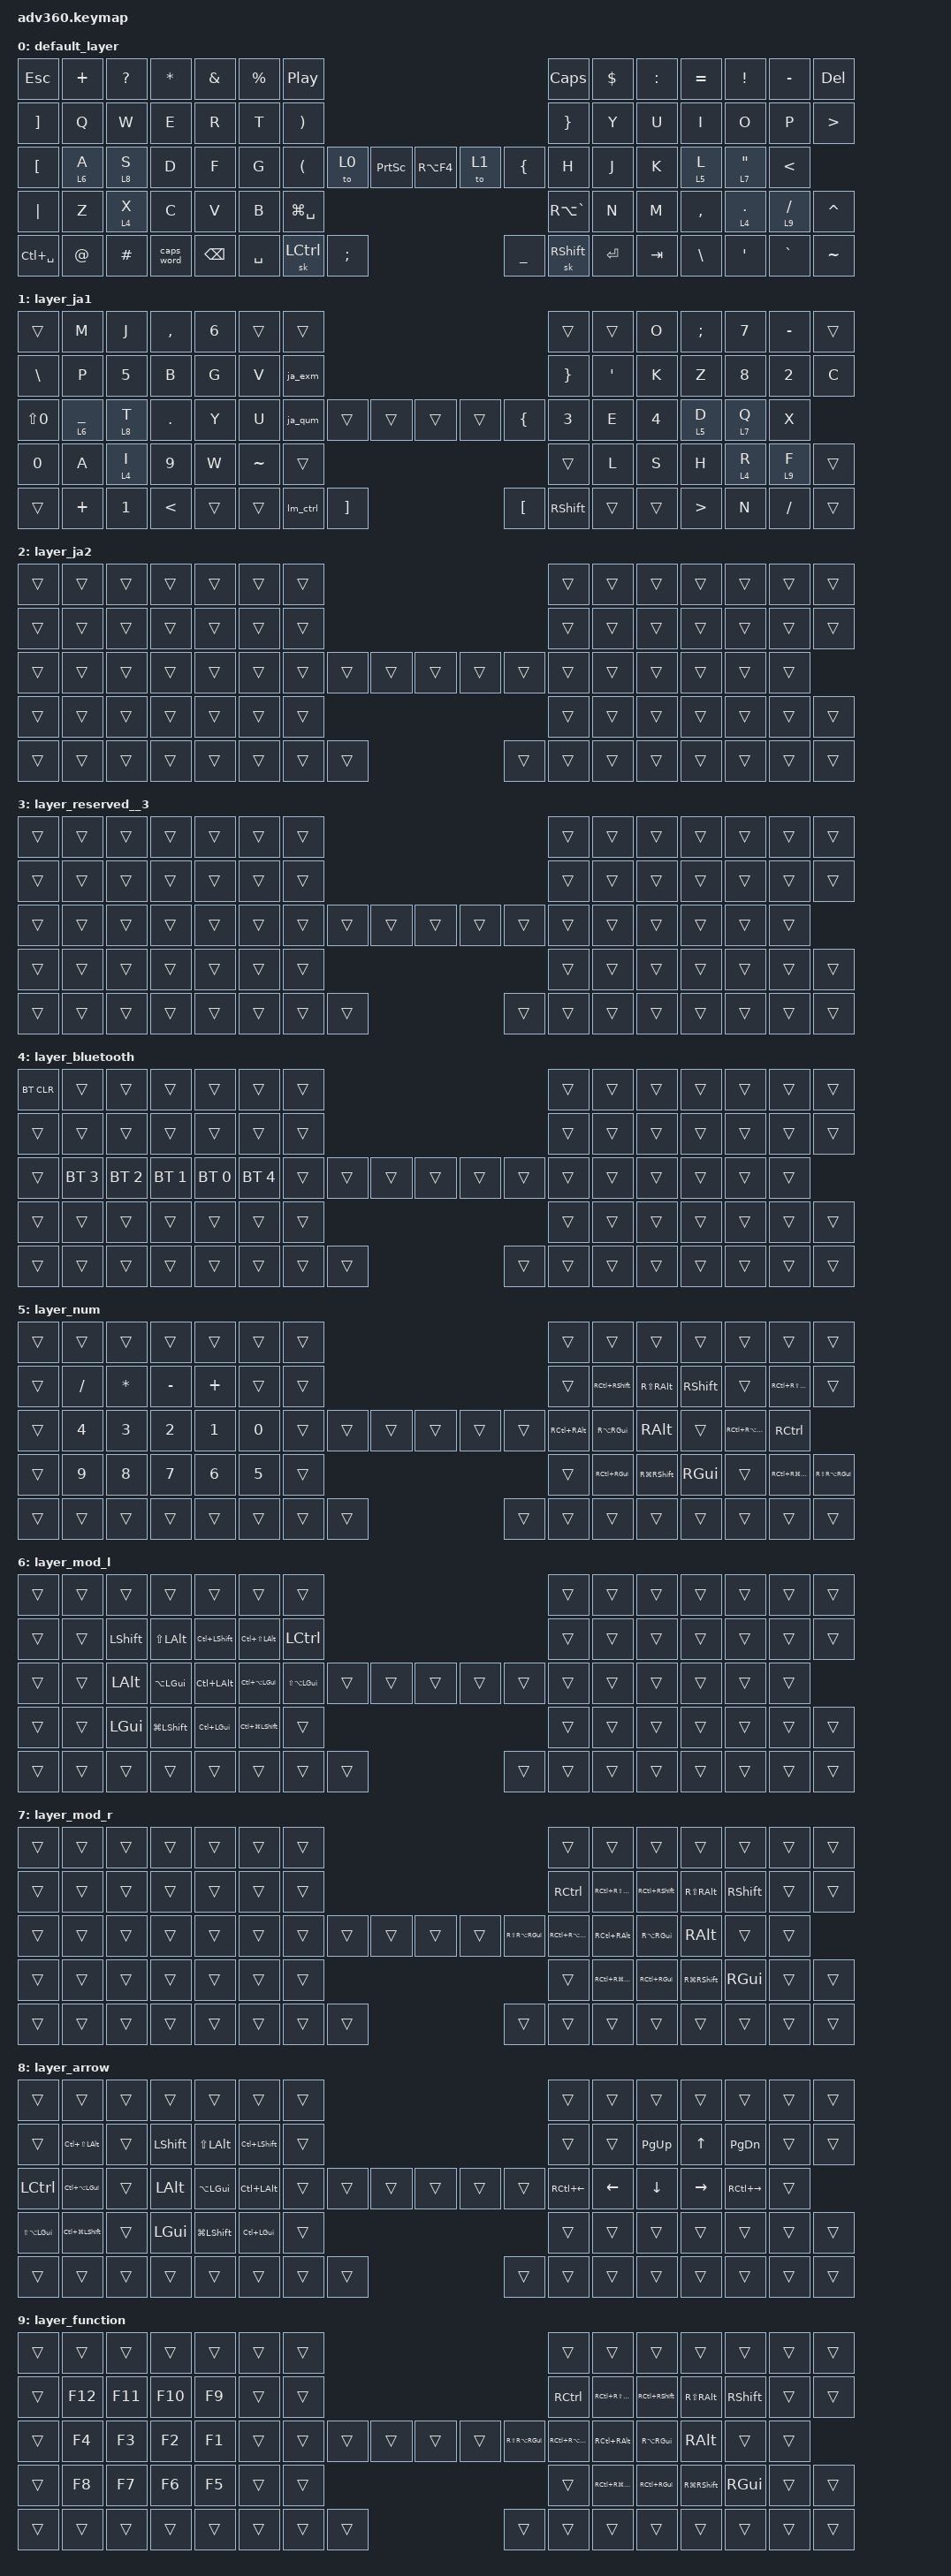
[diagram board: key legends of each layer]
/*
 * Copyright (c) 2020 The ZMK Contributors
 *
 * SPDX-License-Identifier: MIT
 */


/* THIS FILE WAS GENERATED!
 *
 * This file was generated automatically. You may or may not want to
 * edit it directly.
 */

#include <behaviors.dtsi>
#include <dt-bindings/zmk/keys.h>
#include <dt-bindings/zmk/bt.h>

/ {
  behaviors {
    #include "macros.dtsi"
  };

    keymap {
        compatible = "zmk,keymap";


        default_layer {
            bindings = <
            &kp ESC             &kp PLUS    &kp QUESTION    &kp ASTERISK    &kp AMPERSAND   &kp PERCENT &kp C_PP                                                                                                                &kp CAPS        &kp DOLLAR  &kp COLON   &kp EQUAL       &kp EXCLAMATION &kp MINUS           &kp DEL
            &kp RIGHT_BRACKET   &kp Q       &kp W           &kp E           &kp R           &kp T       &kp RIGHT_PARENTHESIS                                                                                                   &kp RIGHT_BRACE &kp Y       &kp U       &kp I           &kp O           &kp P               &kp GREATER_THAN
            &kp LEFT_BRACKET    &lt 6 A     &lt 8 S         &kp D           &kp F           &kp G       &kp LEFT_PARENTHESIS                &to 0               &kp PRINTSCREEN     &kp RA(F4)      &to 1           &kp LEFT_BRACE  &kp H       &kp J       &kp K           &lt 5 L         &lt 7 DOUBLE_QUOTES &kp LESS_THAN
            &kp PIPE            &kp Z       &lt 4 X         &kp C           &kp V           &kp B                                                               &kp LG(SPACE)       &kp RA(GRAVE)                                               &kp N       &kp M       &kp COMMA       &lt 4 DOT       &lt 9 SLASH         &kp CARET
            &kp LC(SPACE)       &kp AT_SIGN &kp HASH        &caps_word      &kp BSPC                                            &kp SPACE   &sk LEFT_CONTROL    &kp SEMI            &kp UNDERSCORE  &sk RIGHT_SHIFT &kp ENTER                               &kp TAB     &kp BACKSLASH   &kp APOSTROPHE  &kp GRAVE           &kp TILDE
            >;
        };

        layer_ja1 {
            bindings = <
            &trans           &kp M              &kp J     &kp COMMA      &kp N6     &trans      &trans                                                                                                                &trans             &trans              &kp O      &kp SEMICOLON    &kp N7     &kp MINUS    &trans
            &kp BACKSLASH    &kp P              &kp N5    &kp B          &kp G      &kp V       &ja_exm                                                                                                               &kp RIGHT_BRACE    &kp SINGLE_QUOTE    &kp K      &kp Z            &kp N8     &kp N2       &kp C
            &kp LS(N0)       &lt 6 UNDERSCORE   &lt 8 T   &kp DOT        &kp Y      &kp U       &ja_qum                    &trans               &trans               &trans               &trans                      &kp LEFT_BRACE     &kp N3              &kp E      &kp N4           &lt 5 D    &lt 7 Q      &kp X
            &kp N0           &kp A              &lt 4 I   &kp N9         &kp W      &kp TILDE                                                   &trans               &trans                                                              &kp L               &kp S      &kp H            &lt 4 R    &lt 9  F     &trans
            &trans           &kp PLUS           &kp N1    &kp LESS_THAN  &trans                                  &trans    &lm_ctrl             &kp RIGHT_BRACKET    &kp LEFT_BRACKET    &kp RIGHT_SHIFT    &trans                                           &trans     &kp GREATER_THAN &kp N      &kp SLASH    &trans
            >;
        };

        layer_ja2 {
            bindings = <
 &trans  &trans  &trans  &trans  &trans  &trans            &trans                                                  &trans  &trans  &trans  &trans  &trans  &trans  &trans
 &trans  &trans  &trans  &trans  &trans  &trans            &trans                                                  &trans  &trans  &trans  &trans  &trans  &trans  &trans
 &trans  &trans  &trans  &trans  &trans  &trans            &trans  &trans  &trans                  &trans  &trans  &trans  &trans  &trans  &trans  &trans  &trans  &trans
 &trans  &trans  &trans  &trans  &trans  &trans                            &trans                  &trans                  &trans  &trans  &trans  &trans  &trans  &trans
 &trans  &trans  &trans  &trans  &trans                    &trans  &trans  &trans                  &trans  &trans  &trans          &trans  &trans  &trans  &trans  &trans
            >;
        };

        layer_reserved__3 {
            bindings = <
 &trans  &trans  &trans  &trans  &trans  &trans            &trans                                                  &trans  &trans  &trans  &trans  &trans  &trans  &trans
 &trans  &trans  &trans  &trans  &trans  &trans            &trans                                                  &trans  &trans  &trans  &trans  &trans  &trans  &trans
 &trans  &trans  &trans  &trans  &trans  &trans            &trans  &trans  &trans                  &trans  &trans  &trans  &trans  &trans  &trans  &trans  &trans  &trans
 &trans  &trans  &trans  &trans  &trans  &trans                            &trans                  &trans                  &trans  &trans  &trans  &trans  &trans  &trans
 &trans  &trans  &trans  &trans  &trans                    &trans  &trans  &trans                  &trans  &trans  &trans          &trans  &trans  &trans  &trans  &trans
            >;
        };

        layer_bluetooth {
            bindings = <
 &bt BT_CLR        &trans        &trans        &trans        &trans        &trans            &trans                                                  &trans  &trans  &trans  &trans  &trans  &trans  &trans
     &trans        &trans        &trans        &trans        &trans        &trans            &trans                                                  &trans  &trans  &trans  &trans  &trans  &trans  &trans
     &trans  &bt BT_SEL 3  &bt BT_SEL 2  &bt BT_SEL 1  &bt BT_SEL 0  &bt BT_SEL 4            &trans  &trans  &trans                  &trans  &trans  &trans  &trans  &trans  &trans  &trans  &trans  &trans
     &trans        &trans        &trans        &trans        &trans        &trans                            &trans                  &trans                  &trans  &trans  &trans  &trans  &trans  &trans
     &trans        &trans        &trans        &trans        &trans                          &trans  &trans  &trans                  &trans  &trans  &trans          &trans  &trans  &trans  &trans  &trans
            >;
        };

        layer_num {
            bindings = <     
 &trans     &trans    &trans     &trans    &trans  &trans   &trans                                                  &trans               &trans               &trans           &trans  &trans  &trans                                  &trans
 &trans  &kp SLASH  &kp STAR  &kp MINUS  &kp PLUS  &trans   &trans                                                  &trans  &kp RC(RIGHT_SHIFT)    &kp RS(RIGHT_ALT)  &kp RIGHT_SHIFT  &trans  &kp RC(RS(RIGHT_ALT))                   &trans
 &trans     &kp N4    &kp N3     &kp N2    &kp N1  &kp N0   &trans          &trans  &trans  &trans  &trans          &trans    &kp RC(RIGHT_ALT)    &kp RA(RIGHT_GUI)    &kp RIGHT_ALT  &trans  &kp RC(RA(RIGHT_GUI))        &kp RIGHT_CONTROL
 &trans     &kp N9    &kp N8     &kp N7    &kp N6  &kp N5                           &trans  &trans                            &kp RC(RIGHT_GUI)  &kp RG(RIGHT_SHIFT)    &kp RIGHT_GUI  &trans  &kp RC(RG(RIGHT_SHIFT))  &kp RS(RA(RIGHT_GUI))
 &trans     &trans    &trans     &trans    &trans                   &trans  &trans  &trans  &trans  &trans  &trans                                            &trans           &trans  &trans  &trans                                  &trans
            >;
        };

        layer_mod_l {
            bindings = <
 &trans  &trans          &trans              &trans              &trans                  &trans                &trans                                                  &trans  &trans  &trans  &trans  &trans  &trans  &trans
 &trans  &trans  &kp LEFT_SHIFT    &kp LS(LEFT_ALT)  &kp LC(LEFT_SHIFT)    &kp LC(LS(LEFT_ALT))      &kp LEFT_CONTROL                                                  &trans  &trans  &trans  &trans  &trans  &trans  &trans
 &trans  &trans    &kp LEFT_ALT    &kp LA(LEFT_GUI)    &kp LC(LEFT_ALT)    &kp LC(LA(LEFT_GUI))  &kp LS(LA(LEFT_GUI))          &trans  &trans  &trans  &trans          &trans  &trans  &trans  &trans  &trans  &trans  &trans
 &trans  &trans    &kp LEFT_GUI  &kp LG(LEFT_SHIFT)    &kp LC(LEFT_GUI)  &kp LC(LG(LEFT_SHIFT))                                        &trans  &trans                          &trans  &trans  &trans  &trans  &trans  &trans
 &trans  &trans          &trans              &trans              &trans                                                &trans  &trans  &trans  &trans  &trans  &trans                  &trans  &trans  &trans  &trans  &trans
            >;
        };

        layer_mod_r {
            bindings = <
 &trans  &trans  &trans  &trans  &trans  &trans  &trans                                                                   &trans                   &trans               &trans               &trans           &trans  &trans  &trans
 &trans  &trans  &trans  &trans  &trans  &trans  &trans                                                        &kp RIGHT_CONTROL    &kp RC(RS(RIGHT_ALT))  &kp RC(RIGHT_SHIFT)    &kp RS(RIGHT_ALT)  &kp RIGHT_SHIFT  &trans  &trans
 &trans  &trans  &trans  &trans  &trans  &trans  &trans            &trans  &trans  &trans  &trans          &kp RS(RA(RIGHT_GUI))    &kp RC(RA(RIGHT_GUI))    &kp RC(RIGHT_ALT)    &kp RA(RIGHT_GUI)    &kp RIGHT_ALT  &trans  &trans  
 &trans  &trans  &trans  &trans  &trans  &trans                            &trans  &trans                                         &kp RC(RG(RIGHT_SHIFT))    &kp RC(RIGHT_GUI)  &kp RG(RIGHT_SHIFT)    &kp RIGHT_GUI  &trans  &trans
 &trans  &trans  &trans  &trans  &trans                    &trans  &trans  &trans  &trans  &trans  &trans                                                               &trans               &trans           &trans  &trans  &trans
            >;
        };

        layer_arrow {
            bindings = <
               &trans                 &trans   &trans          &trans              &trans              &trans  &trans                                                  &trans        &trans       &trans        &trans         &trans         &trans  &trans
               &trans    &kp LC(LS(LEFT_ALT))  &trans  &kp LEFT_SHIFT    &kp LS(LEFT_ALT)  &kp LC(LEFT_SHIFT)  &trans                                                  &trans        &trans  &kp PAGE_UP  &kp UP_ARROW  &kp PAGE_DOWN         &trans  &trans
     &kp LEFT_CONTROL    &kp LC(LA(LEFT_GUI))  &trans    &kp LEFT_ALT    &kp LA(LEFT_GUI)    &kp LC(LEFT_ALT)  &trans          &trans  &trans  &trans  &trans          &trans  &kp RC(LEFT)     &kp LEFT      &kp DOWN      &kp RIGHT  &kp RC(RIGHT)  &trans
 &kp LS(LA(LEFT_GUI))  &kp LC(LG(LEFT_SHIFT))  &trans    &kp LEFT_GUI  &kp LG(LEFT_SHIFT)    &kp LC(LEFT_GUI)                          &trans  &trans                                &trans       &trans        &trans         &trans         &trans  &trans
               &trans                 &trans   &trans          &trans              &trans                              &trans  &trans  &trans  &trans  &trans  &trans                             &trans        &trans         &trans         &trans  &trans
            >;
        };

        layer_function {
            bindings = <
    &trans   &trans   &trans   &trans  &trans  &trans  &trans                                                                     &trans                   &trans               &trans               &trans           &trans  &trans  &trans
    &trans  &kp F12  &kp F11  &kp F10  &kp F9  &trans  &trans                                                          &kp RIGHT_CONTROL    &kp RC(RS(RIGHT_ALT))  &kp RC(RIGHT_SHIFT)    &kp RS(RIGHT_ALT)  &kp RIGHT_SHIFT  &trans  &trans
    &trans   &kp F4   &kp F3   &kp F2  &kp F1  &trans  &trans              &trans  &trans  &trans  &trans          &kp RS(RA(RIGHT_GUI))    &kp RC(RA(RIGHT_GUI))    &kp RC(RIGHT_ALT)    &kp RA(RIGHT_GUI)    &kp RIGHT_ALT  &trans  &trans  
    &trans   &kp F8   &kp F7   &kp F6  &kp F5  &trans                              &trans  &trans                                         &kp RC(RG(RIGHT_SHIFT))    &kp RC(RIGHT_GUI)  &kp RG(RIGHT_SHIFT)    &kp RIGHT_GUI  &trans  &trans
    &trans   &trans   &trans   &trans  &trans                      &trans  &trans  &trans  &trans  &trans  &trans                                                               &trans               &trans           &trans  &trans  &trans
            >;
        };

    };
};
